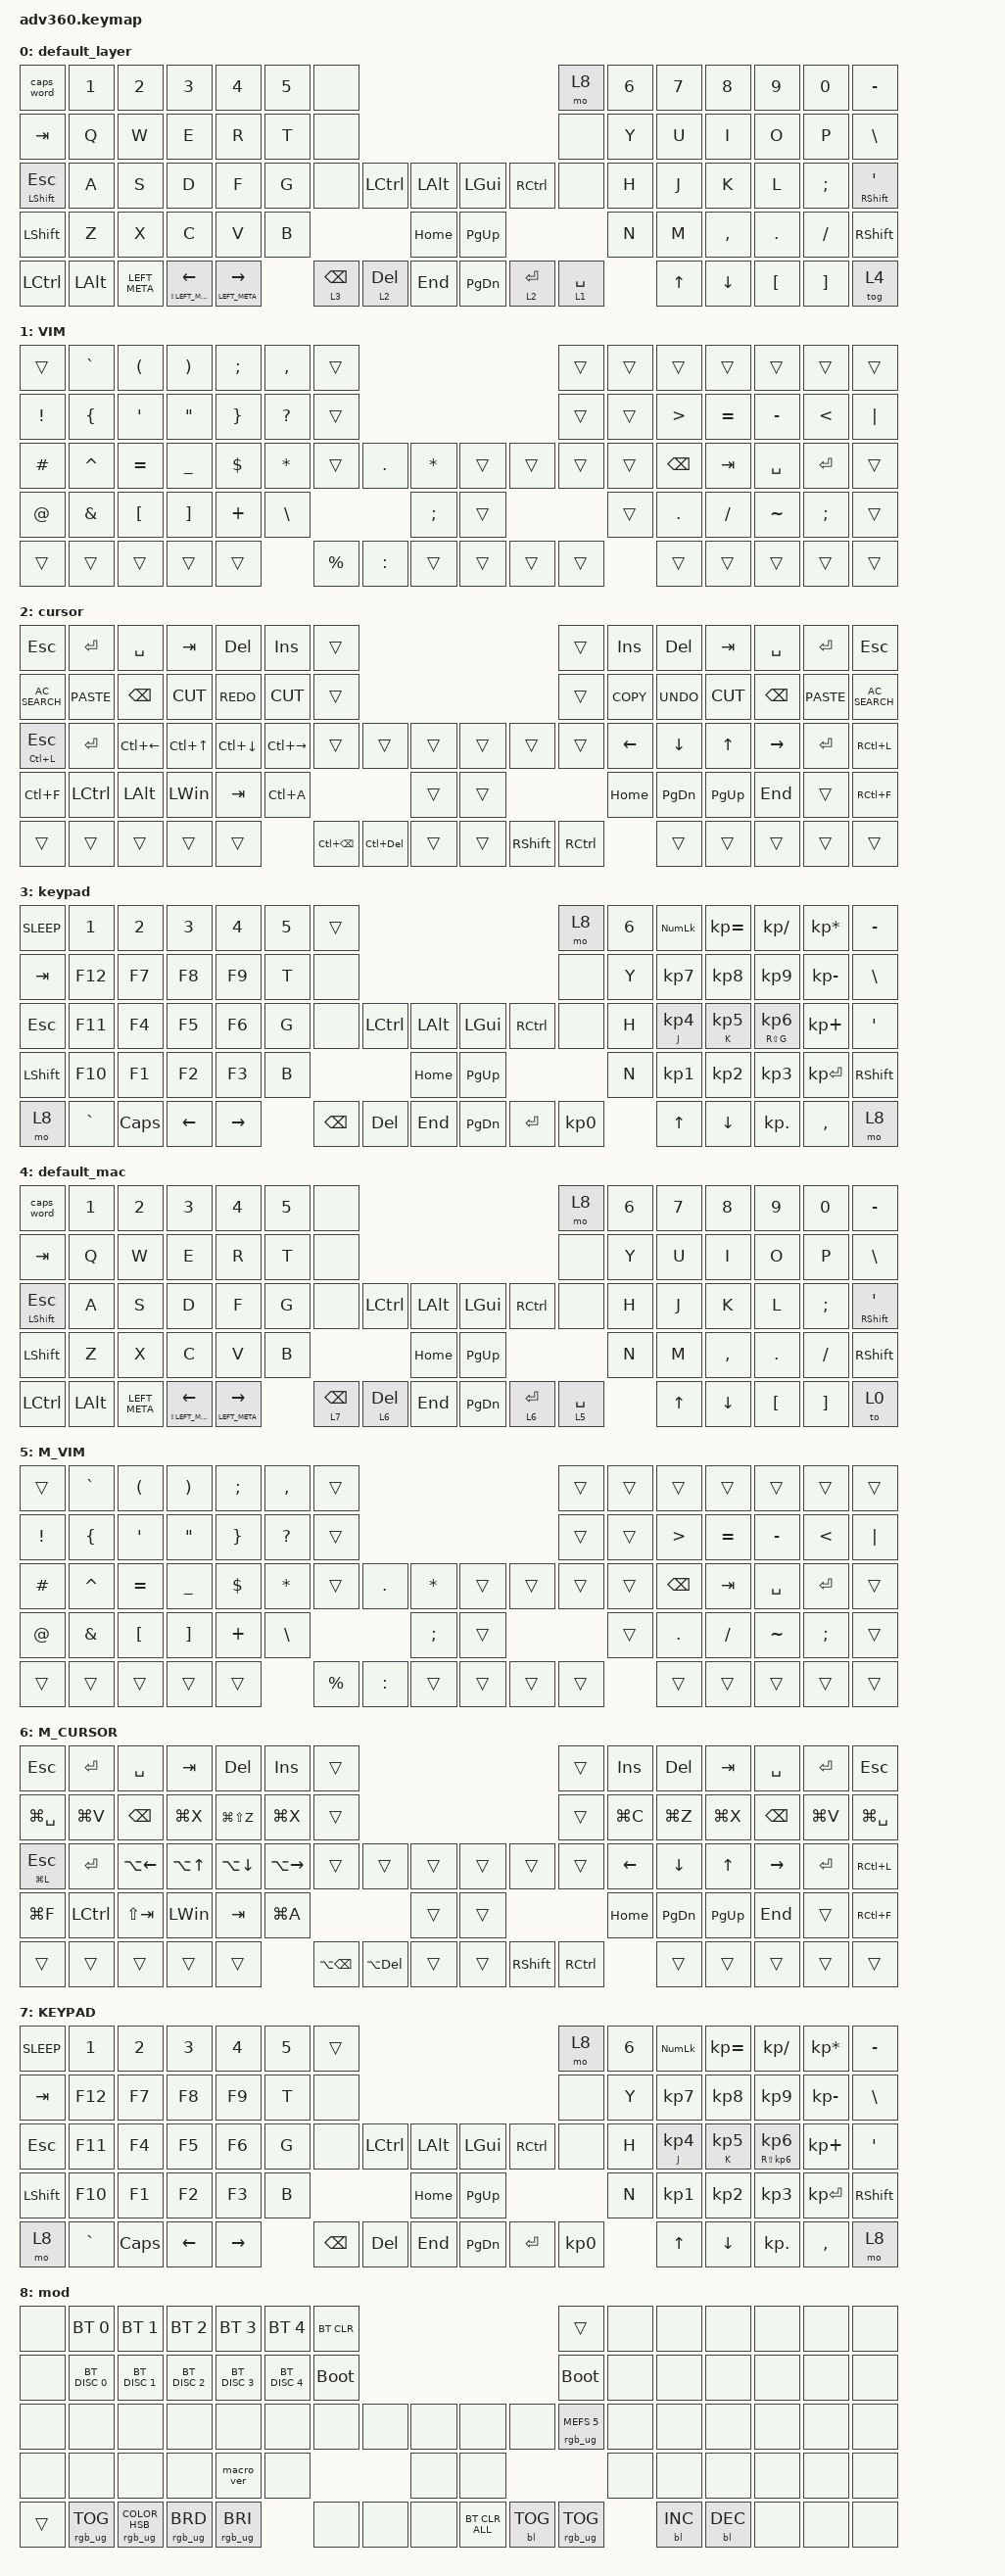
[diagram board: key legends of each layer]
#include <behaviors.dtsi>
#include <dt-bindings/zmk/backlight.h>
#include <dt-bindings/zmk/bt.h>
#include <dt-bindings/zmk/keys.h>
#include <dt-bindings/zmk/rgb.h>

&lt { quick-tap-ms = <150>; };

/ {
    behaviors {
        #include "macros.dtsi"
      #include "version.dtsi"
      #ifndef VERSION_MACRO

        macro_ver: macro_ver {
            compatible = "zmk,behavior-macro";
            label = "macro_version";
            #binding-cells = <0>;
            bindings = <&kp RET>;
        };

        #endif

        hm: homerow_mods {
            compatible = "zmk,behavior-hold-tap";
            label = "HOMEROW_MODS";
            #binding-cells = <2>;
            tapping-term-ms = <200>;
            flavor = "tap-preferred";
            bindings = <&kp>, <&kp>;

            quick-tap-ms = <175>;
        };
    };

    combos { compatible = "zmk,combos"; };

    macros {
    };

    keymap {
        compatible = "zmk,keymap";

        // Layers: 0 default  1 VIM  2 cursor  3 keypad (Linux)
        //         4 default_mac  5 M_VIM  6 M_CURSOR  7 KEYPAD (Mac)
        //         8 mod (highest, so it works from either set)

        default_layer {
            bindings = <
&caps_word             &kp N1        &kp N2         &kp N3                  &kp N4               &kp N5  &none                                                              &mo 8         &kp N6  &kp N7  &kp N8     &kp N9    &kp N0    &kp MINUS
&kp TAB                &kp Q         &kp W          &kp E                   &kp R                &kp T   &none                                                              &none         &kp Y   &kp U   &kp I      &kp O     &kp P     &kp BSLH
&mt LEFT_SHIFT ESCAPE  &kp A         &kp S          &kp D                   &kp F                &kp G   &none            &kp LCTRL     &kp LALT      &kp LGUI   &kp RCTRL  &none         &kp H   &kp J   &kp K      &kp L     &kp SEMI  &mt RIGHT_SHIFT APOS
&kp LEFT_SHIFT         &kp Z         &kp X          &kp C                   &kp V                &kp B                                  &kp HOME      &kp PG_UP                           &kp N   &kp M   &kp COMMA  &kp DOT   &kp FSLH  &kp RSHFT
&kp LCTRL              &kp LEFT_ALT  &kp LEFT_META  &mt LS(LEFT_META) LEFT  &mt LEFT_META RIGHT          &lt 3 BACKSPACE  &lt 2 DELETE  &kp END       &kp PG_DN  &lt 2 RET  &lt 1 SPACE           &kp UP  &kp DOWN   &kp LBKT  &kp RBKT  &tog 4
            >;
        };

        VIM {
            bindings = <
&trans    &kp GRAVE       &kp LEFT_PARENTHESIS  &kp RIGHT_PARENTHESIS  &kp SEMICOLON    &kp COMMA      &trans                                                 &trans  &trans  &trans         &trans     &trans     &trans    &trans
&kp EXCL  &kp LEFT_BRACE  &kp SQT               &kp DOUBLE_QUOTES      &kp RIGHT_BRACE  &kp QUESTION   &trans                                                 &trans  &trans  &kp GT         &kp EQUAL  &kp MINUS  &kp LT    &kp PIPE
&kp HASH  &kp CARET       &kp EQUAL             &kp UNDER              &kp DOLLAR       &kp STAR       &trans       &kp PERIOD  &kp STAR      &trans  &trans  &trans  &trans  &kp BACKSPACE  &kp TAB    &kp SPACE  &kp RET   &trans
&kp AT    &kp AMPS        &kp LEFT_BRACKET      &kp RIGHT_BRACKET      &kp PLUS         &kp BACKSLASH                           &kp SEMI      &trans                  &trans  &kp DOT        &kp SLASH  &kp TILDE  &kp SEMI  &trans
&trans    &trans          &trans                &trans                 &trans                          &kp PERCENT  &kp COLON   &trans        &trans  &trans  &trans          &trans         &trans     &trans     &trans    &trans
            >;
        };

        cursor {
            bindings = <
&kp ESCAPE        &kp ENTER    &kp SPACE           &kp TAB           &kp DELETE          &kp INS              &trans                                                             &trans     &kp INS         &kp DELETE      &kp TAB       &kp SPACE        &kp ENTER    &kp ESCAPE
&kp C_AC_SEARCH   &kp K_PASTE  &kp BACKSPACE       &kp K_CUT         &kp K_REDO          &kp K_CUT            &trans                                                             &trans     &kp K_COPY      &kp K_UNDO      &kp K_CUT     &kp BACKSPACE    &kp K_PASTE  &kp C_AC_SEARCH
&mt LC(L) ESCAPE  &kp ENTER    &kp LC(LEFT_ARROW)  &kp LC(UP_ARROW)  &kp LC(DOWN_ARROW)  &kp LC(RIGHT_ARROW)  &trans             &trans          &trans      &trans  &trans      &trans     &kp LEFT_ARROW  &kp DOWN_ARROW  &kp UP_ARROW  &kp RIGHT_ARROW  &kp RETURN   &kp RC(L)
&kp LC(F)         &kp LCTRL    &kp LEFT_ALT        &kp LEFT_WIN      &kp TAB             &kp LC(A)                                               &trans      &trans                         &kp HOME        &kp PG_DN       &kp PG_UP     &kp END          &trans       &kp RC(F)
&trans            &trans       &trans              &trans            &trans                                   &kp LC(BACKSPACE)  &kp LC(DELETE)  &trans      &trans  &kp RSHIFT  &kp RCTRL                  &trans          &trans        &trans           &trans       &trans
            >;
        };

        keypad {
            bindings = <
&kp K_SLEEP  &kp N1     &kp N2    &kp N3    &kp N4     &kp N5  &trans                                                   &mo 8      &kp N6  &kp KP_NUM         &kp KP_EQUAL       &kp KP_DIVIDE          &kp KP_MULTIPLY  &kp MINUS
&kp TAB      &kp F12    &kp F7    &kp F8    &kp F9     &kp T   &none                                                    &none      &kp Y   &kp KP_N7          &kp KP_N8          &kp KP_N9              &kp KP_MINUS     &kp BSLH
&kp ESC      &kp F11    &kp F4    &kp F5    &kp F6     &kp G   &none     &kp LCTRL  &kp LALT      &kp LGUI   &kp RCTRL  &none      &kp H   &mt J KP_NUMBER_4  &mt K KP_NUMBER_5  &mt RS(G) KP_NUMBER_6  &kp KP_PLUS      &kp SQT
&kp LSHFT    &kp F10    &kp F1    &kp F2    &kp F3     &kp B                        &kp HOME      &kp PG_UP                        &kp N   &kp KP_N1          &kp KP_N2          &kp KP_N3              &kp KP_ENTER     &kp RSHFT
&mo 8        &kp GRAVE  &kp CAPS  &kp LEFT  &kp RIGHT          &kp BSPC  &kp DEL    &kp END       &kp PG_DN  &kp ENTER  &kp KP_N0          &kp UP             &kp DOWN           &kp KP_DOT             &kp COMMA        &mo 8
            >;
        };

        default_mac {
            bindings = <
&caps_word             &kp N1          &kp N2           &kp N3                  &kp N4               &kp N5  &none                                                              &mo 8         &kp N6  &kp N7  &kp N8     &kp N9    &kp N0    &kp MINUS
&kp TAB                &kp Q           &kp W            &kp E                   &kp R                &kp T   &none                                                              &none         &kp Y   &kp U   &kp I      &kp O     &kp P     &kp BSLH
&mt LEFT_SHIFT ESCAPE  &kp A           &kp S            &kp D                   &kp F                &kp G   &none            &kp LCTRL     &kp LALT      &kp LGUI   &kp RCTRL  &none         &kp H   &kp J   &kp K      &kp L     &kp SEMI  &mt RIGHT_SHIFT APOS
&kp LEFT_SHIFT         &kp Z           &kp X            &kp C                   &kp V                &kp B                                  &kp HOME      &kp PG_UP                           &kp N   &kp M   &kp COMMA  &kp DOT   &kp FSLH  &kp RSHFT
&kp LCTRL              &kp LEFT_ALT    &kp LEFT_META    &mt LS(LEFT_META) LEFT  &mt LEFT_META RIGHT          &lt 7 BACKSPACE  &lt 6 DELETE  &kp END       &kp PG_DN  &lt 6 RET  &lt 5 SPACE           &kp UP  &kp DOWN   &kp LBKT  &kp RBKT  &to 0
            >;
        };

        M_VIM {
            bindings = <
&trans    &kp GRAVE       &kp LEFT_PARENTHESIS  &kp RIGHT_PARENTHESIS  &kp SEMICOLON    &kp COMMA      &trans                                                 &trans  &trans  &trans         &trans     &trans     &trans    &trans
&kp EXCL  &kp LEFT_BRACE  &kp SQT               &kp DOUBLE_QUOTES      &kp RIGHT_BRACE  &kp QUESTION   &trans                                                 &trans  &trans  &kp GT         &kp EQUAL  &kp MINUS  &kp LT    &kp PIPE
&kp HASH  &kp CARET       &kp EQUAL             &kp UNDER              &kp DOLLAR       &kp STAR       &trans       &kp PERIOD  &kp STAR      &trans  &trans  &trans  &trans  &kp BACKSPACE  &kp TAB    &kp SPACE  &kp RET   &trans
&kp AT    &kp AMPS        &kp LEFT_BRACKET      &kp RIGHT_BRACKET      &kp PLUS         &kp BACKSLASH                           &kp SEMI      &trans                  &trans  &kp DOT        &kp SLASH  &kp TILDE  &kp SEMI  &trans
&trans    &trans          &trans                &trans                 &trans                          &kp PERCENT  &kp COLON   &trans        &trans  &trans  &trans          &trans         &trans     &trans     &trans    &trans
            >;
        };

        M_CURSOR {
            bindings = <
&kp ESCAPE        &kp ENTER    &kp SPACE           &kp TAB           &kp DELETE          &kp INS              &trans                                                             &trans     &kp INS         &kp DELETE      &kp TAB       &kp SPACE        &kp ENTER    &kp ESCAPE
&kp LG(SPACE)     &kp LG(V)    &kp BACKSPACE       &kp LG(X)         &kp LG(LS(Z))       &kp LG(X)            &trans                                                             &trans     &kp LG(C)       &kp LG(Z)       &kp LG(X)     &kp BACKSPACE    &kp LG(V)    &kp LG(SPACE)
&mt LG(L) ESCAPE  &kp ENTER    &kp LA(LEFT_ARROW)  &kp LA(UP_ARROW)  &kp LA(DOWN_ARROW)  &kp LA(RIGHT_ARROW)  &trans             &trans          &trans      &trans  &trans      &trans     &kp LEFT_ARROW  &kp DOWN_ARROW  &kp UP_ARROW  &kp RIGHT_ARROW  &kp RETURN   &kp RC(L)
&kp LG(F)         &kp LCTRL    &kp LS(TAB)         &kp LEFT_WIN      &kp TAB             &kp LG(A)                                               &trans      &trans                         &kp HOME        &kp PG_DN       &kp PG_UP     &kp END          &trans       &kp RC(F)
&trans            &trans       &trans              &trans            &trans                                   &kp LA(BACKSPACE)  &kp LA(DELETE)  &trans      &trans  &kp RSHIFT  &kp RCTRL                  &trans          &trans        &trans           &trans       &trans
            >;
        };

        KEYPAD {
            bindings = <
&kp K_SLEEP  &kp N1     &kp N2    &kp N3    &kp N4     &kp N5  &trans                                                   &mo 8      &kp N6  &kp KP_NUM         &kp KP_EQUAL       &kp KP_DIVIDE              &kp KP_MULTIPLY  &kp MINUS
&kp TAB      &kp F12    &kp F7    &kp F8    &kp F9     &kp T   &none                                                    &none      &kp Y   &kp KP_N7          &kp KP_N8          &kp KP_N9                  &kp KP_MINUS     &kp BSLH
&kp ESC      &kp F11    &kp F4    &kp F5    &kp F6     &kp G   &none     &kp LCTRL  &kp LALT      &kp LGUI   &kp RCTRL  &none      &kp H   &mt J KP_NUMBER_4  &mt K KP_NUMBER_5  &mt RS(KP_N6) KP_NUMBER_6  &kp KP_PLUS      &kp SQT
&kp LSHFT    &kp F10    &kp F1    &kp F2    &kp F3     &kp B                        &kp HOME      &kp PG_UP                        &kp N   &kp KP_N1          &kp KP_N2          &kp KP_N3                  &kp KP_ENTER     &kp RSHFT
&mo 8        &kp GRAVE  &kp CAPS  &kp LEFT  &kp RIGHT          &kp BSPC  &kp DEL    &kp END       &kp PG_DN  &kp ENTER  &kp KP_N0          &kp UP             &kp DOWN           &kp KP_DOT                 &kp COMMA        &mo 8
            >;
        };

        mod {
            bindings = <
&none   &bt BT_SEL 0     &bt BT_SEL 1                      &bt BT_SEL 2     &bt BT_SEL 3     &bt BT_SEL 4   &bt BT_CLR                                                    &trans                  &none  &none       &none       &none  &none  &none
&none   &bt BT_DISC 0    &bt BT_DISC 1                     &bt BT_DISC 2    &bt BT_DISC 3    &bt BT_DISC 4  &bootloader                                                &bootloader             &none  &none       &none       &none  &none  &none
&none   &none            &none                             &none            &none            &none          &none        &none  &none      &none           &none       &rgb_ug RGB_MEFS_CMD 5  &none  &none       &none       &none  &none  &none
&none   &none            &none                             &none            &macro_ver       &none                              &none      &none                                               &none  &none       &none       &none  &none  &none
&trans  &rgb_ug RGB_TOG  &rgb_ug RGB_COLOR_HSB(236,81,57)  &rgb_ug RGB_BRD  &rgb_ug RGB_BRI                 &none        &none  &none      &bt BT_CLR_ALL  &bl BL_TOG  &rgb_ug RGB_TOG                &bl BL_INC  &bl BL_DEC  &none  &none  &none
            >;
        };
    };
};
